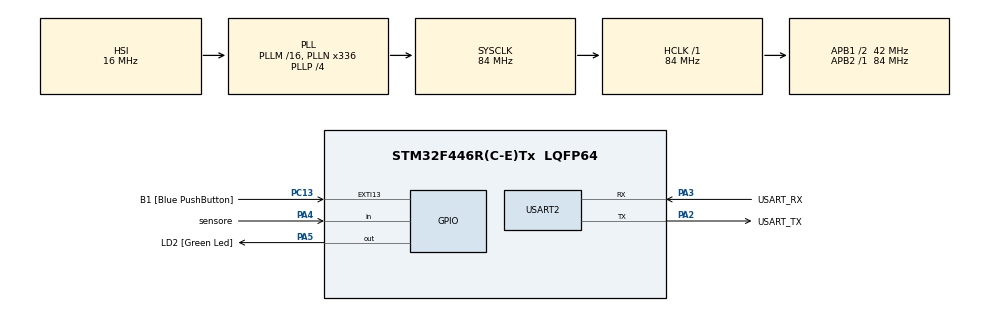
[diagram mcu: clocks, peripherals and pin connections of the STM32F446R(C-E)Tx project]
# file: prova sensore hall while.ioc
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Mcu.Family=STM32F4
Mcu.Name=STM32F446R(C-E)Tx
Mcu.Package=LQFP64
NVIC.PriorityGroup=NVIC_PRIORITYGROUP_0
NVIC.TIM3_IRQn=true\:0\:0\:false\:false\:true\:true\:true
NVIC.TIM4_IRQn=true\:0\:0\:false\:false\:true\:true\:true
PA13.GPIO_Label=TMS
PA13.Mode=Serial_Wire
PA13.Signal=SYS_JTMS-SWDIO
PA14.GPIO_Label=TCK
PA14.Mode=Serial_Wire
PA14.Signal=SYS_JTCK-SWCLK
PA2.GPIO_Label=USART_TX
PA2.Mode=Asynchronous
PA2.Signal=USART2_TX
PA3.GPIO_Label=USART_RX
PA3.Mode=Asynchronous
PA3.Signal=USART2_RX
PA4.GPIO_Label=sensore
PA4.Signal=GPIO_Input
PA5.GPIO_Label=LD2 [Green Led]
PA5.Signal=GPIO_Output
PB3.GPIO_Label=SWO
PB3.Signal=SYS_JTDO-SWO
PC13.GPIO_Label=B1 [Blue PushButton]
PC13.GPIO_ModeDefaultEXTI=GPIO_MODE_IT_FALLING
PC13.Signal=GPXTI13
PC14-OSC32_IN.Mode=LSE-External-Oscillator
PC14-OSC32_IN.Signal=RCC_OSC32_IN
PC15-OSC32_OUT.Mode=LSE-External-Oscillator
PC15-OSC32_OUT.Signal=RCC_OSC32_OUT
PH0-OSC_IN.Mode=HSE-External-Oscillator
PH0-OSC_IN.Signal=RCC_OSC_IN
PH1-OSC_OUT.Mode=HSE-External-Oscillator
PH1-OSC_OUT.Signal=RCC_OSC_OUT
ProjectManager.HeapSize=0x200
ProjectManager.StackSize=0x400
ProjectManager.TargetToolchain=STM32CubeIDE
RCC.48MHZClocksFreq_Value=84000000
RCC.AHBFreq_Value=84000000
RCC.APB1CLKDivider=RCC_HCLK_DIV2
RCC.APB1Freq_Value=42000000
RCC.APB1TimFreq_Value=84000000
RCC.APB2Freq_Value=84000000
RCC.APB2TimFreq_Value=84000000
RCC.CortexFreq_Value=84000000
RCC.FLatency-AdvancedSettings=FLASH_LATENCY_2
RCC.HCLKFreq_Value=84000000
RCC.HSE_VALUE=8000000
RCC.HSI_VALUE=16000000
RCC.PLLN=336
RCC.PLLP=RCC_PLLP_DIV4
RCC.SYSCLKFreq_VALUE=84000000
RCC.SYSCLKSource=RCC_SYSCLKSOURCE_PLLCLK
RCC.USBFreq_Value=168000000
RCC.VCOOutputFreq_Value=336000000
TIM3.Period=10510
TIM3.Prescaler=840
TIM4.Period=100
TIM4.Prescaler=840
USART2.VirtualMode=VM_ASYNC
VP_TIM3_VS_ClockSourceINT.Mode=Internal
VP_TIM4_VS_ClockSourceINT.Mode=Internal
board=NUCLEO-F446RE

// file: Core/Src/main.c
/* USER CODE BEGIN Header */
/**
  ******************************************************************************
  * @file           : main.c
  * @brief          : Main program body
  ******************************************************************************
  * @attention
  *
  * <h2><center>&copy; Copyright (c) 2020 STMicroelectronics.
  * All rights reserved.</center></h2>
  *
  * This software component is licensed by ST under BSD 3-Clause license,
  * the "License"; You may not use this file except in compliance with the
  * License. You may obtain a copy of the License at:
  *                        opensource.org/licenses/BSD-3-Clause
  *
  ******************************************************************************
  */
/* USER CODE END Header */
#include "main.h"
#include <string.h>
#include <stdio.h>
#include "stm32f4xx_it.h"
/* USER CODE BEGIN Includes */

// VARIABILI GLOBALI-----------------

extern Orario TC;

//-----------------------------------

//Primo Sensore----------------------

extern Hall Memoria[100];
 uint8_t check=0;

 //----------------------------------

 // FUNZIONI-------------------------
void Memory_Management( uint8_t scrittura){
static uint8_t dimensione = 100;
	if(scrittura>=dimensione -5){
		scrittura=0;
	}

}

void pollingsensore(){
     static uint8_t index=0;
	 uint8_t readstatus;
	 static uint8_t lastread=0;
	 Memory_Management(index); // gestione index
	 readstatus=HAL_GPIO_ReadPin(GPIOA, sensore_Pin);
			if(readstatus!=lastread){   // se lo stato passa da 1 a 0 o viceversa
				Memoria[index].tmps=TC;  // save time
				Memoria[index].read_value=readstatus; //save status
				index++;   //upgrade index
				lastread=readstatus;
				check=1;  // almeno un valore sta in memoria
				}

	}

//-----------------------------------

/* USER CODE END Includes */

TIM_HandleTypeDef htim3;
TIM_HandleTypeDef htim4;
UART_HandleTypeDef huart2;

void SystemClock_Config(void);
static void MX_GPIO_Init(void);
static void MX_USART2_UART_Init(void);
static void MX_TIM3_Init(void);
static void MX_TIM4_Init(void);

int main(void)
{

  /* MCU Configuration--------------------------------------------------------*/

  /* Reset of all peripherals, Initializes the Flash interface and the Systick. */
  HAL_Init();

  /* Configure the system clock */
  SystemClock_Config();

  /* Initialize all configured peripherals */
  MX_GPIO_Init();
  MX_USART2_UART_Init();
  MX_TIM3_Init();
  MX_TIM4_Init();

  HAL_TIM_Base_Start_IT(&htim3);
  HAL_TIM_Base_Start_IT(&htim4);

  /* Infinite loop */
  while (1)
  {
pollingsensore();
  }
}

void SystemClock_Config(void)
{
  RCC_OscInitTypeDef RCC_OscInitStruct = {0};
  RCC_ClkInitTypeDef RCC_ClkInitStruct = {0};

  /** Configure the main internal regulator output voltage
  */
  __HAL_RCC_PWR_CLK_ENABLE();
  __HAL_PWR_VOLTAGESCALING_CONFIG(PWR_REGULATOR_VOLTAGE_SCALE3);
  /** Initializes the RCC Oscillators according to the specified parameters
  * in the RCC_OscInitTypeDef structure.
  */
  RCC_OscInitStruct.OscillatorType = RCC_OSCILLATORTYPE_HSI;
  RCC_OscInitStruct.HSIState = RCC_HSI_ON;
  RCC_OscInitStruct.HSICalibrationValue = RCC_HSICALIBRATION_DEFAULT;
  RCC_OscInitStruct.PLL.PLLState = RCC_PLL_ON;
  RCC_OscInitStruct.PLL.PLLSource = RCC_PLLSOURCE_HSI;
  RCC_OscInitStruct.PLL.PLLM = 16;
  RCC_OscInitStruct.PLL.PLLN = 336;
  RCC_OscInitStruct.PLL.PLLP = RCC_PLLP_DIV4;
  RCC_OscInitStruct.PLL.PLLQ = 2;
  RCC_OscInitStruct.PLL.PLLR = 2;
  if (HAL_RCC_OscConfig(&RCC_OscInitStruct) != HAL_OK)
  {
    Error_Handler();
  }
  /** Initializes the CPU, AHB and APB buses clocks
  */
  RCC_ClkInitStruct.ClockType = RCC_CLOCKTYPE_HCLK|RCC_CLOCKTYPE_SYSCLK
                              |RCC_CLOCKTYPE_PCLK1|RCC_CLOCKTYPE_PCLK2;
  RCC_ClkInitStruct.SYSCLKSource = RCC_SYSCLKSOURCE_PLLCLK;
  RCC_ClkInitStruct.AHBCLKDivider = RCC_SYSCLK_DIV1;
  RCC_ClkInitStruct.APB1CLKDivider = RCC_HCLK_DIV2;
  RCC_ClkInitStruct.APB2CLKDivider = RCC_HCLK_DIV1;

  if (HAL_RCC_ClockConfig(&RCC_ClkInitStruct, FLASH_LATENCY_2) != HAL_OK)
  {
    Error_Handler();
  }
}

static void MX_TIM3_Init(void)
{

  TIM_ClockConfigTypeDef sClockSourceConfig = {0};
  TIM_MasterConfigTypeDef sMasterConfig = {0};

  htim3.Instance = TIM3;
  htim3.Init.Prescaler = 840;
  htim3.Init.CounterMode = TIM_COUNTERMODE_UP;
  htim3.Init.Period = 10510;
  htim3.Init.ClockDivision = TIM_CLOCKDIVISION_DIV1;
  htim3.Init.AutoReloadPreload = TIM_AUTORELOAD_PRELOAD_DISABLE;
  if (HAL_TIM_Base_Init(&htim3) != HAL_OK)
  {
    Error_Handler();
  }
  sClockSourceConfig.ClockSource = TIM_CLOCKSOURCE_INTERNAL;
  if (HAL_TIM_ConfigClockSource(&htim3, &sClockSourceConfig) != HAL_OK)
  {
    Error_Handler();
  }
  sMasterConfig.MasterOutputTrigger = TIM_TRGO_RESET;
  sMasterConfig.MasterSlaveMode = TIM_MASTERSLAVEMODE_DISABLE;
  if (HAL_TIMEx_MasterConfigSynchronization(&htim3, &sMasterConfig) != HAL_OK)
  {
    Error_Handler();
  }

}

static void MX_TIM4_Init(void)
{

  TIM_ClockConfigTypeDef sClockSourceConfig = {0};
  TIM_MasterConfigTypeDef sMasterConfig = {0};

  htim4.Instance = TIM4;
  htim4.Init.Prescaler = 840;
  htim4.Init.CounterMode = TIM_COUNTERMODE_UP;
  htim4.Init.Period = 100;
  htim4.Init.ClockDivision = TIM_CLOCKDIVISION_DIV1;
  htim4.Init.AutoReloadPreload = TIM_AUTORELOAD_PRELOAD_DISABLE;
  if (HAL_TIM_Base_Init(&htim4) != HAL_OK)
  {
    Error_Handler();
  }
  sClockSourceConfig.ClockSource = TIM_CLOCKSOURCE_INTERNAL;
  if (HAL_TIM_ConfigClockSource(&htim4, &sClockSourceConfig) != HAL_OK)
  {
    Error_Handler();
  }
  sMasterConfig.MasterOutputTrigger = TIM_TRGO_RESET;
  sMasterConfig.MasterSlaveMode = TIM_MASTERSLAVEMODE_DISABLE;
  if (HAL_TIMEx_MasterConfigSynchronization(&htim4, &sMasterConfig) != HAL_OK)
  {
    Error_Handler();
  }

}

static void MX_USART2_UART_Init(void)
{

  huart2.Instance = USART2;
  huart2.Init.BaudRate = 115200;
  huart2.Init.WordLength = UART_WORDLENGTH_8B;
  huart2.Init.StopBits = UART_STOPBITS_1;
  huart2.Init.Parity = UART_PARITY_NONE;
  huart2.Init.Mode = UART_MODE_TX_RX;
  huart2.Init.HwFlowCtl = UART_HWCONTROL_NONE;
  huart2.Init.OverSampling = UART_OVERSAMPLING_16;
  if (HAL_UART_Init(&huart2) != HAL_OK)
  {
    Error_Handler();
  }

}

static void MX_GPIO_Init(void)
{
  GPIO_InitTypeDef GPIO_InitStruct = {0};

  /* GPIO Ports Clock Enable */
  __HAL_RCC_GPIOC_CLK_ENABLE();
  __HAL_RCC_GPIOH_CLK_ENABLE();
  __HAL_RCC_GPIOA_CLK_ENABLE();
  __HAL_RCC_GPIOB_CLK_ENABLE();

  /*Configure GPIO pin Output Level */
  HAL_GPIO_WritePin(LD2_GPIO_Port, LD2_Pin, GPIO_PIN_RESET);

  /*Configure GPIO pin : B1_Pin */
  GPIO_InitStruct.Pin = B1_Pin;
  GPIO_InitStruct.Mode = GPIO_MODE_IT_FALLING;
  GPIO_InitStruct.Pull = GPIO_NOPULL;
  HAL_GPIO_Init(B1_GPIO_Port, &GPIO_InitStruct);

  /*Configure GPIO pin : sensore_Pin */
  GPIO_InitStruct.Pin = sensore_Pin;
  GPIO_InitStruct.Mode = GPIO_MODE_INPUT;
  GPIO_InitStruct.Pull = GPIO_NOPULL;
  HAL_GPIO_Init(sensore_GPIO_Port, &GPIO_InitStruct);

  /*Configure GPIO pin : LD2_Pin */
  GPIO_InitStruct.Pin = LD2_Pin;
  GPIO_InitStruct.Mode = GPIO_MODE_OUTPUT_PP;
  GPIO_InitStruct.Pull = GPIO_NOPULL;
  GPIO_InitStruct.Speed = GPIO_SPEED_FREQ_LOW;
  HAL_GPIO_Init(LD2_GPIO_Port, &GPIO_InitStruct);

}

void Error_Handler(void)
{
  __disable_irq();
  while (1)
  {
  }
}

/************************ (C) COPYRIGHT STMicroelectronics *****END OF FILE****/
